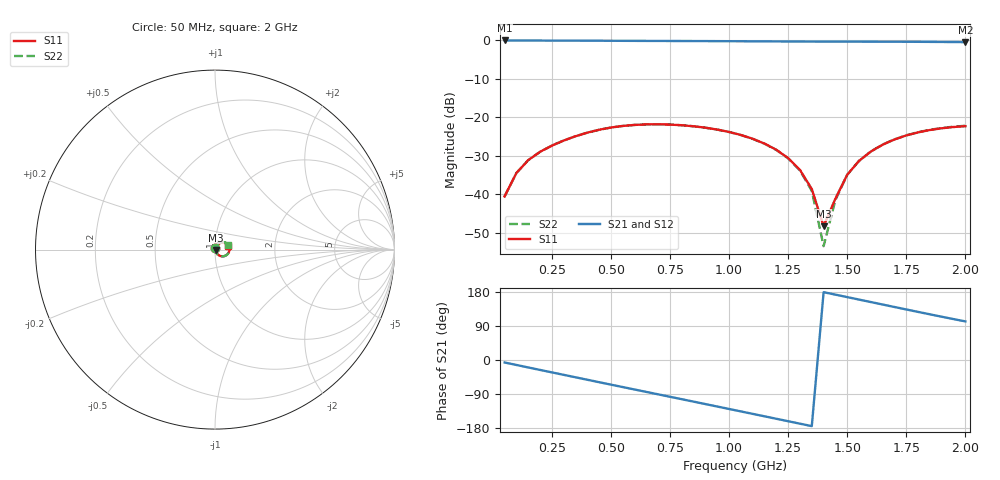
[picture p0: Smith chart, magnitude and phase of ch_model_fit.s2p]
! .MODEL  SMODEL ch_model S  TSTONEFILE=.\ch_model_fit.s2p  TYPE=SFMAX=  3e+11
! The above .MODEL line can be used for the S element in the netlist.
# Hz S RI R  50
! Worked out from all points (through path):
!   40 points, 50 MHz to 2 GHz, reference 50 ohm
!   highest |S21| = -0.05 dB at 50 MHz (marker M1); lowest = -0.5 dB at 2 GHz (marker M2)
!   group delay of S21, straight-line fit = 359 ps
!   lowest |S11| = -48.3 dB at 1.4 GHz (marker M3), VSWR 1.01, Z = 50.4 - j0.149 ohm
!   |S11| at or under -10 dB: start of sweep to end of sweep
!   |S22| runs from -53.5 to -21.8 dB; largest |S21 - S12| = 0
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5e7  -0.00119 0.00927  0.9874 -0.113  0.9874 -0.113  -0.00119 0.00929
1e8  0.00203 0.0187  0.9678 -0.2256  0.9678 -0.2256  0.00204 0.0187
1.5e8  0.00781 0.0266  0.9344 -0.3343  0.9344 -0.3343  0.00779 0.0265
2.5e8  0.0219 0.0367  0.8332 -0.5342  0.8332 -0.5342  0.0219 0.0367
4e8  0.0476 0.0413  0.6064 -0.7789  0.6064 -0.7789  0.0475 0.0413
5.5e8  0.0718 0.0277  0.3129 -0.9317  0.3129 -0.9317  0.0718 0.0278
7e8  0.0808 0.00254  -0.0111 -0.9791  -0.0111 -0.9791  0.0808 0.00261
8.5e8  0.0732 -0.0213  -0.3323 -0.9178  -0.3323 -0.9178  0.0731 -0.0214
9.5e8  0.061 -0.0323  -0.5272 -0.8185  -0.5272 -0.8185  0.0608 -0.0325
1.05e9  0.0453 -0.0374  -0.6945 -0.6778  -0.6945 -0.6778  0.0449 -0.0377
1.15e9  0.0286 -0.0353  -0.8256 -0.5035  -0.8256 -0.5035  0.0278 -0.0356
1.25e9  0.0141 -0.0259  -0.9144 -0.3048  -0.9144 -0.3048  0.0129 -0.0261
1.3e9  0.0087 -0.0187  -0.9416 -0.1994  -0.9416 -0.1994  0.00735 -0.0189
1.35e9  0.00511 -0.0105  -0.9569 -0.0916  -0.9569 -0.0916  0.0035 -0.0105
1.4e9  0.00355 -0.00148  -0.9602 0.0172  -0.9602 0.0172  0.00167 -0.00129
1.45e9  0.00418 0.0077  -0.9513 0.1258  -0.9513 0.1258  0.00203 0.00814
1.5e9  0.00699 0.0165  -0.9304 0.2328  -0.9304 0.2328  0.00457 0.0173
1.55e9  0.0118 0.0244  -0.8974 0.3369  -0.8974 0.3369  0.00916 0.0255
1.6e9  0.0183 0.0308  -0.8529 0.4366  -0.8529 0.4366  0.0155 0.0324
1.7e9  0.0345 0.0381  -0.7313 0.617  -0.7313 0.617  0.0314 0.0409
1.85e9  0.0586 0.0347  -0.4835 0.8205  -0.4835 0.8205  0.0561 0.0396
2e9  0.0737 0.0201  -0.1937 0.9247  -0.1937 0.9247  0.0727 0.0268
